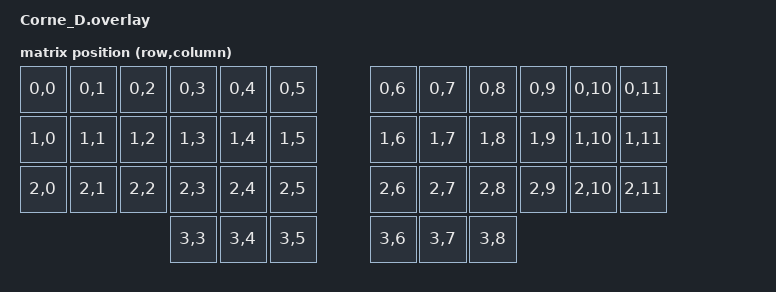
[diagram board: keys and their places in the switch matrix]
/*
 * Corne dongle — a third nRF52840 ProMicro acting as the sole BLE
 * central. Both keyboard halves are peripherals; this board has no
 * keys, no LEDs and no OLED. It relays the host link over USB and maps
 * key positions from both halves into the shared config/Corne.keymap.
 *
 * (ZMK strips the `_D` suffix, so this shield reuses Corne.keymap and
 * config/Corne.conf automatically — no per-dongle keymap file needed.)
 */
#include <dt-bindings/zmk/matrix_transform.h>
#include "Corne-layouts.dtsi"

/ {
	chosen {
		/* No display, no underglow on the dongle. */
		zmk,kscan = &kscan0;
		zmk,physical-layout = &layout_0;
	};

	behaviors {
		/* Same global RGB behavior as the halves. The dongle has no
		 * strip, so its local invocation is a no-op (compiled out via
		 * the CONFIG_WS2812_STRIP guard in behavior_rgb_reactive.c) —
		 * but the node MUST exist here so layer_color.c can fire it and
		 * have ZMK forward it to BOTH peripherals over split BLE. Keep
		 * the label ≤8 chars (split behavior_dev wire limit). */
		rgb_reactive: behavior_rgb_reactive {
			compatible = "zmk,behavior-rgb-reactive";
			#binding-cells = <2>;
			label = "rgb_rx";
			display-name = "RGB Reactive";
		};
	};

	/* Full 42-key transform so positions from both halves land in
	 * range. Identical to the halves' default_transform — do NOT add
	 * offsets here: the central applies each peripheral's position
	 * as-is, and the halves already bake their global positions in
	 * (left col-offset 0, right col-offset 6). */
	default_transform: keymap_transform_0 {
		compatible = "zmk,matrix-transform";
		columns = <12>;
		rows = <4>;
		map = <
RC(0,0) RC(0,1) RC(0,2) RC(0,3) RC(0,4) RC(0,5)  RC(0,6)  RC(0,7) RC(0,8) RC(0,9) RC(0,10) RC(0,11)
RC(1,0) RC(1,1) RC(1,2) RC(1,3) RC(1,4) RC(1,5)  RC(1,6)  RC(1,7) RC(1,8) RC(1,9) RC(1,10) RC(1,11)
RC(2,0) RC(2,1) RC(2,2) RC(2,3) RC(2,4) RC(2,5)  RC(2,6)  RC(2,7) RC(2,8) RC(2,9) RC(2,10) RC(2,11)
                        RC(3,3) RC(3,4) RC(3,5)  RC(3,6) RC(3,7) RC(3,8)
		>;
	};

	/* No physical matrix on the dongle — a mock kscan satisfies the
	 * required zmk,kscan chosen node and emits nothing. */
	kscan0: kscan {
		compatible = "zmk,kscan-mock";
		columns = <0>;
		rows = <0>;
		events = <0>;
	};
};
